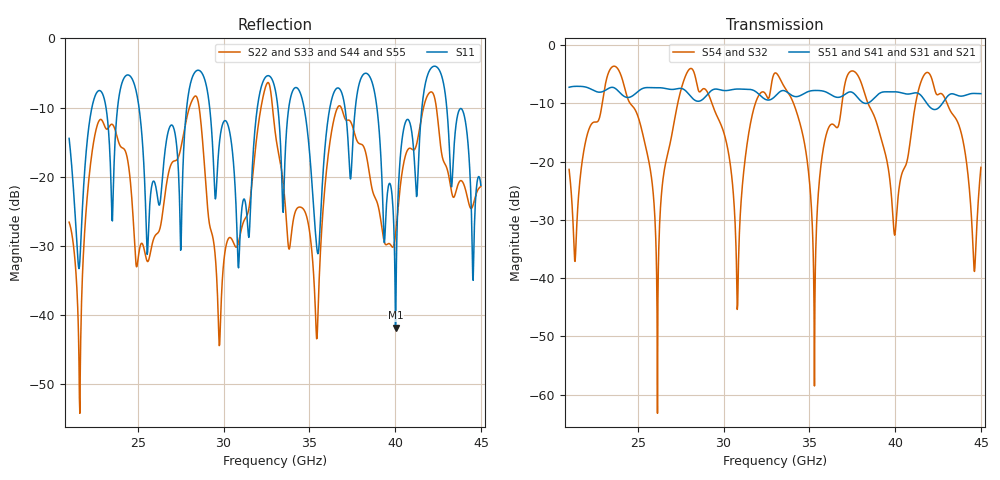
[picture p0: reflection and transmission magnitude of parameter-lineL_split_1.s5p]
! Created Mon Jun 10 12:53:44 2024
# hz S ma R 50
! 5 Port Network Data from SP1.SP block
! freq  magS11  angS11  magS12  angS12  magS13  angS13  magS14  angS14
!  magS15  angS15
!  magS21  angS21  magS22  angS22  magS23  angS23
!  magS24  angS24  magS25  angS25
!  magS31  angS31  magS32  angS32
!  magS33  angS33  magS34  angS34  magS35  angS35
!  magS41  angS41
!  magS42  angS42  magS43  angS43  magS44  angS44  magS45  angS45
!  magS51  angS51  magS52  angS52  magS53  angS53  magS54  angS54
!  magS55  angS55
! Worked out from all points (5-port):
!   961 points, 21 GHz to 45 GHz, reference 50 ohm
!   strongest paths, dB at 21 GHz, 27 GHz, 33 GHz, 39 GHz, 45 GHz:
!     S51: -7.2, -7.6, -8.8, -8.5, -8.3
!     S41: -7.2, -7.6, -8.8, -8.5, -8.3
!     S31: -7.2, -7.6, -8.8, -8.5, -8.3
!     S21: -7.2, -7.6, -8.8, -8.5, -8.3
!     S54: -21.3, -15.2, -4.8, -14.1, -21.0
!     S32: -21.3, -15.2, -4.8, -14.1, -21.0
!   lowest |S11| = -41.8 dB at 40.02 GHz (marker M1), VSWR 1.02, Z = 49.3 - j0.349 ohm
!   |S11| at or under -10 dB: 25.08 GHz to 27.85 GHz (2.777 GHz wide, 10.5 % of centre); 29.19 GHz to 31.97 GHz (2.778 GHz wide, 9.08 % of centre); 38.94 GHz to 41.56 GHz (2.625 GHz wide, 6.52 % of centre)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
